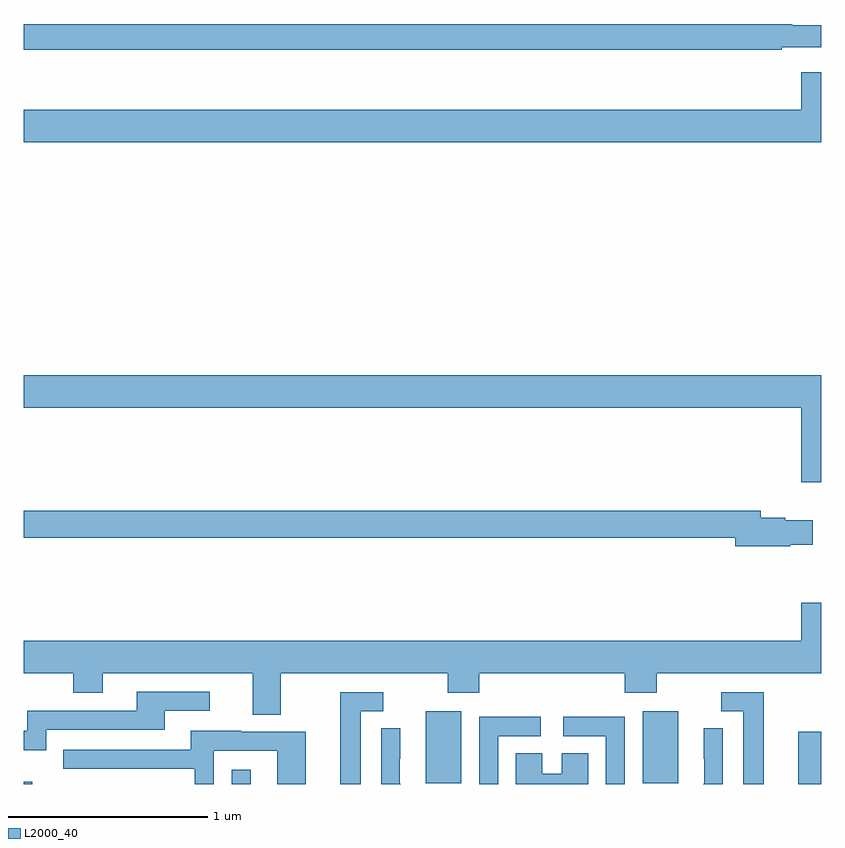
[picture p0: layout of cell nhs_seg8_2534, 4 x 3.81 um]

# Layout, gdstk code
import gdstk
lib = gdstk.Library(unit=1e-6, precision=1e-09)
def R(c, l, rs):  # rectangles x0, y0, x1, y1
    for r in rs: c.add(gdstk.rectangle(r[:2], r[2:], *l))
def P(c, l, *ps):  # polygons
    for p in ps: c.add(gdstk.Polygon(p, *l))
L2000_40 = (2000, 40)

nhs_seg8_2534 = lib.new_cell('nhs_seg8_2534')
R(nhs_seg8_2534, L2000_40, [(269,1159.9,269.042,1159.912), (270.042,1159.9,270.139,1159.972), (272.885,1159.9,273,1160.163), (271.016,1159.905,271.195,1160.266), (272.105,1159.905,272.284,1160.266)])
P(nhs_seg8_2534, L2000_40, [(272.804,1163.598),(273,1163.598),(273,1163.707),(272.855,1163.707),(272.855,1163.714),(269,1163.714),(269,1163.586),(272.804,1163.586)],
  [(273,1163.473),(272.9,1163.473),(272.9,1163.284),(269,1163.284),(269,1163.12),(273,1163.12)],
  [(273,1161.952),(269,1161.952),(269,1161.788),(272.9,1161.788),(272.9,1161.414),(273,1161.414)],
  [(272.846,1161.101),(272.959,1161.101),(272.959,1161.223),(272.82,1161.223),(272.82,1161.236),(272.698,1161.236),(272.698,1161.272),(269,1161.272),(269,1161.136),(272.57,1161.136),(272.57,1161.094),(272.846,1161.094)],
  [(270.289,1160.456),(271.126,1160.456),(271.126,1160.357),(271.286,1160.357),(271.286,1160.456),(272.015,1160.456),(272.015,1160.357),(272.175,1160.357),(272.175,1160.456),(273,1160.456),(273,1160.809),(272.9,1160.809),(272.9,1160.62),(269,1160.62),(269,1160.456),(269.248,1160.456),(269.248,1160.357),(269.395,1160.357),(269.395,1160.456),(270.149,1160.456),(270.149,1160.248),(270.289,1160.248)],
  [(269.112,1160.172),(269.707,1160.172),(269.707,1160.268),(269.932,1160.268),(269.932,1160.364),(269.567,1160.364),(269.567,1160.268),(269.016,1160.268),(269.016,1160.166),(269,1160.166),(269,1160.069),(269.112,1160.069)],
  [(272.713,1160.361),(272.499,1160.361),(272.499,1160.265),(272.609,1160.265),(272.609,1159.9),(272.713,1159.9)],
  [(270.691,1160.265),(270.802,1160.265),(270.802,1160.361),(270.587,1160.361),(270.587,1159.9),(270.691,1159.9)],
  [(272.016,1160.238),(271.707,1160.238),(271.707,1160.139),(271.92,1160.139),(271.92,1159.9),(272.016,1159.9)],
  [(271.38,1160.139),(271.594,1160.139),(271.594,1160.238),(271.284,1160.238),(271.284,1159.9),(271.38,1159.9)],
  [(272.508,1160.18),(272.412,1160.18),(272.412,1160.026),(272.414,1160.026),(272.414,1159.904),(272.41,1159.9),(272.508,1159.9)],
  [(270.887,1159.904),(270.887,1160.026),(270.888,1160.026),(270.888,1160.18),(270.792,1160.18),(270.792,1159.9),(270.891,1159.9)],
  [(269.952,1160.067),(270.27,1160.067),(270.27,1159.9),(270.415,1159.9),(270.415,1160.163),(270.091,1160.163),(270.091,1160.167),(269.837,1160.167),(269.837,1160.073),(269.197,1160.073),(269.197,1159.977),(269.856,1159.977),(269.856,1159.9),(269.952,1159.9)],
  [(271.831,1160.054),(271.7,1160.054),(271.7,1159.951),(271.6,1159.951),(271.6,1160.054),(271.469,1160.054),(271.469,1159.9),(271.831,1159.9)])

lib.write_gds('nhs_seg8_2534.gds')
